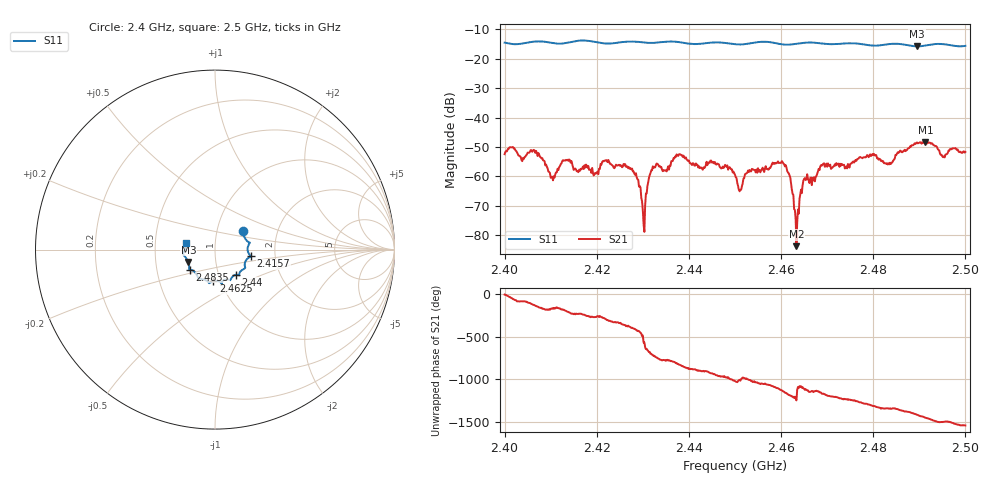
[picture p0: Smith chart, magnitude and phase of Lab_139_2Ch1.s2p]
# Hz S RI R 50
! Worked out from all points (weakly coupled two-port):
!   601 points, 2.4 GHz to 2.5 GHz, reference 50 ohm
!   highest |S21| = -48.30 dB at 2.4913 GHz (marker M1); lowest = -83.8 dB at 2.4633 GHz (marker M2)
!   lowest |S11| = -15.7 dB at 2.4895 GHz (marker M3), VSWR 1.39, Z = 36.8 - j5.16 ohm
!   |S11| at or under -10 dB: start of sweep to end of sweep
!   S12 and S22 are empty: the file has one direction only
!   S11 on the Smith chart (normalised r, x): 2.4 GHz: 1.33, +0.29; 2.4157 GHz: 1.49, -0.11; 2.44 GHz: 1.21, -0.35; 2.4625 GHz: 0.92, -0.34; 2.4835 GHz: 0.74, -0.17; 2.5 GHz: 0.72, +0.05
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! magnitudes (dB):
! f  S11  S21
! 2.4 GHz  -14.5  -52.5
! 2.4063 GHz  -14.1  -51.0
! 2.4103 GHz  -14.6  -60.1
! 2.4157 GHz  -13.9  -58.3
! 2.4167 GHz  -13.7  -57.6
! 2.4272 GHz  -14.1  -57.4
! 2.4302 GHz  -14.4  -76.5
! 2.4317 GHz  -14.6  -58.9
! 2.4333 GHz  -14.4  -56.0
! 2.44 GHz  -14.8  -54.6
! 2.45 GHz  -15.0  -59.5
! 2.4512 GHz  -15.1  -64.6
! 2.4602 GHz  -15.1  -54.8
! 2.4625 GHz  -15.0  -66.0
! 2.4633 GHz  -14.9  -83.8
! 2.4652 GHz  -14.5  -60.6
! 2.4667 GHz  -14.4  -63.0
! 2.4833 GHz  -15.0  -55.6
! 2.4835 GHz  -15.0  -55.9
! 2.4895 GHz  -15.7  -48.4
! 2.4913 GHz  -15.5  -48.3
! 2.5 GHz  -15.6  -51.7
